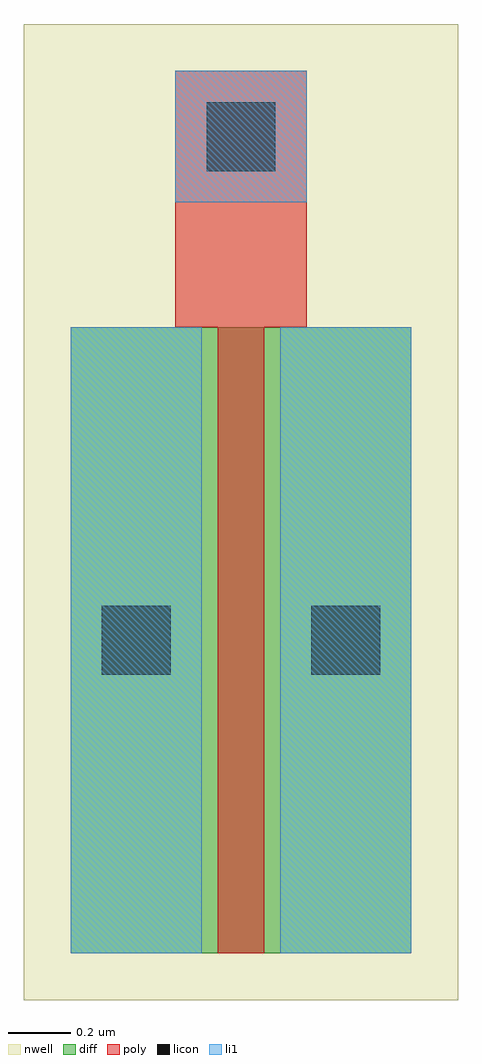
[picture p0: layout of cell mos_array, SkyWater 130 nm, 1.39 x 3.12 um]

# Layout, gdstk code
import gdstk
lib = gdstk.Library(unit=1e-6, precision=1e-09)
def R(c, l, rs):  # rectangles x0, y0, x1, y1
    for r in rs: c.add(gdstk.rectangle(r[:2], r[2:], *l))
nwell = (64, 20)
diff = (65, 20)
poly = (66, 20)
licon = (66, 44)
li1 = (67, 20)

mos_array = lib.new_cell('mos_array')
R(mos_array, nwell, [(-0.15,-0.15,1.24,2.97)])
R(mos_array, diff, [(0,0,1.09,2)])
R(mos_array, poly, [(0.47,0,0.62,2), (0.335,2,0.755,2.82)])
R(mos_array, licon, [(0.1,0.89,0.32,1.11), (0.77,0.89,0.99,1.11), (0.435,2.5,0.655,2.72)])
R(mos_array, li1, [(0,0,0.42,2), (0.67,0,1.09,2), (0.335,2.4,0.755,2.82)])

lib.write_gds('mos_array.gds')
